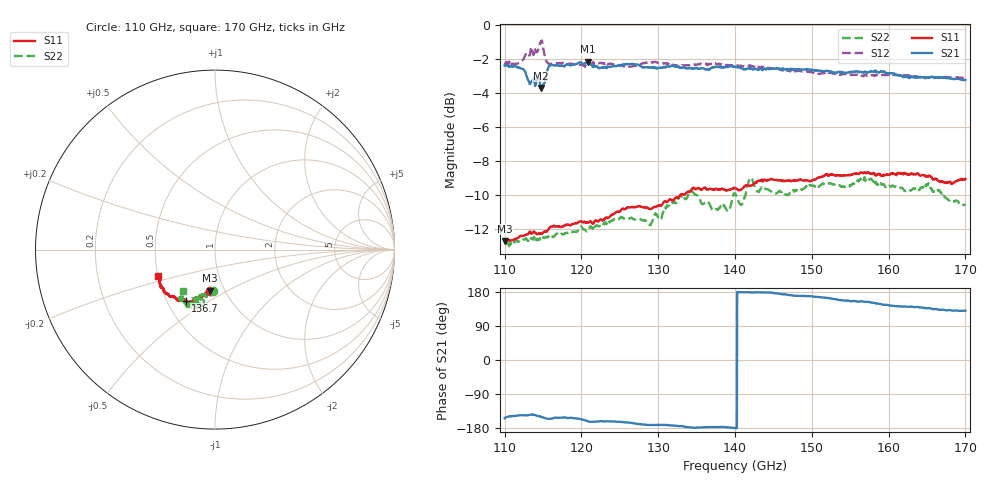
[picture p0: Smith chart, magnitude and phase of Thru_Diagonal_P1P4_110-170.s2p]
!Keysight Technologies,N5247B,MY61256062,A.16.20.04
!Date: Tuesday, November 25, 2025 06:54:16
!Correction: S11(C  2-Port  )
!S21(C  2-Port  )
!S12(C  2-Port  )
!S22(C  2-Port  )
!S2P File: Measurements: S11, S21, S12, S22:
# Hz S  dB  R 50
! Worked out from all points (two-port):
!   1471 points, 110 GHz to 170 GHz, reference 50 ohm
!   highest |S21| = -2.17 dB at 120.9 GHz (marker M1); lowest = -3.7 dB at 114.7 GHz (marker M2)
!   |S21| within 3 dB of the highest: start of sweep to end of sweep
!   lowest |S11| = -12.7 dB at 110 GHz (marker M3), VSWR 1.60, Z = 42.5 - j20.6 ohm
!   |S11| at or under -10 dB: start of sweep to 132.9 GHz; 133.3345 GHz to 133.3605 GHz (26 MHz wide, 0.0195 % of centre)
!   |S22| runs from -13.0 to -9.0 dB; largest |S21 - S12| = 0.31
!   S11 on the Smith chart (normalised r, x): 110 GHz: 0.85, -0.41; 136.7 GHz: 0.62, -0.40; 170 GHz: 0.50, -0.17
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1.1e11  -12.72 -97.5  -2.38 -153.8  -2.22 -134.6  -12.67 -92.8
1.121633e11  -12.42 -97.1  -2.57 -145.8  -2.16 -145.0  -12.70 -91.4
1.133469e11  -12.19 -98.5  -3.45 -144.4  -1.61 -147.6  -12.52 -92.6
1.147347e11  -12.31 -100.6  -3.71 -150.1  -0.98 -148.2  -12.58 -94.3
1.156327e11  -12.07 -102.2  -2.58 -155.3  -2.28 -146.8  -12.50 -94.4
1.177551e11  -11.86 -103.1  -2.45 -151.3  -2.26 -154.6  -12.30 -96.0
1.2e11  -11.57 -104.5  -2.22 -156.7  -2.34 -155.2  -11.88 -99.5
1.208571e11  -11.63 -105.2  -2.17 -161.6  -2.44 -153.3  -11.98 -100.7
1.250204e11  -11.00 -107.0  -2.40 -163.2  -2.41 -161.7  -11.37 -100.4
1.274694e11  -10.67 -110.7  -2.36 -169.1  -2.34 -161.6  -11.42 -101.0
1.3e11  -10.63 -111.2  -2.56 -171.1  -2.25 -168.6  -11.35 -105.9
1.342449e11  -9.77 -115.7  -2.56 -177.9  -2.39 -172.8  -9.82 -104.5
1.367347e11  -9.65 -120.0  -2.61 -176.8  -2.30 -179.3  -10.59 -101.9
1.39102e11  -9.72 -121.1  -2.47 -177.5  -2.37 175.2  -10.91 -109.4
1.4e11  -9.61 -121.9  -2.47 -179.3  -2.38 175.1  -9.93 -110.6
1.408571e11  -9.67 -122.0  -2.56 178.9  -2.41 173.2  -10.56 -114.0
1.420408e11  -9.48 -123.4  -2.56 178.3  -2.43 172.1  -9.01 -111.0
1.465714e11  -9.19 -129.0  -2.61 173.1  -2.67 166.7  -9.98 -110.1
1.5e11  -9.16 -131.6  -2.65 168.0  -2.80 164.1  -9.47 -113.9
1.6e11  -8.83 -144.0  -2.85 144.5  -2.93 163.5  -9.49 -120.6
1.650204e11  -8.93 -149.3  -3.11 136.4  -3.13 158.9  -9.42 -124.6
1.7e11  -9.07 -155.3  -3.25 130.0  -3.16 151.6  -10.64 -127.5
